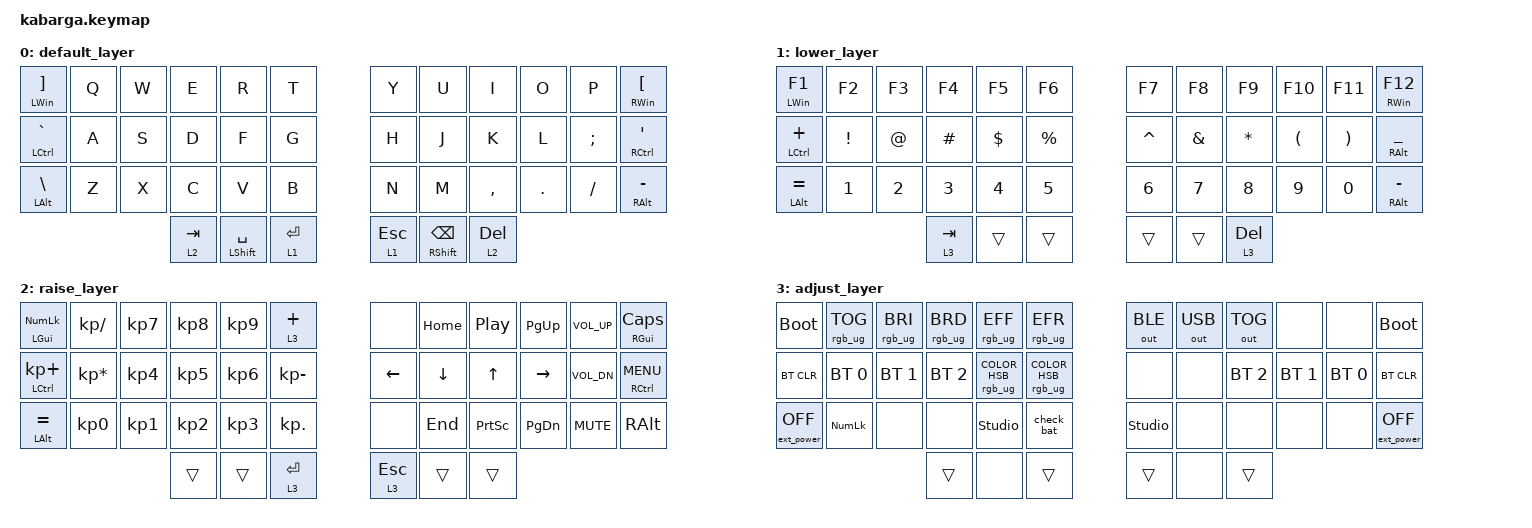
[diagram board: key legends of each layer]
/*
 * Copyright (c) 2020 The ZMK Contributors
 *
 * SPDX-License-Identifier: MIT
 */

#include <behaviors.dtsi>
#include <dt-bindings/zmk/bt.h>
#include <dt-bindings/zmk/ext_power.h>
#include <dt-bindings/zmk/keys.h>
#include <dt-bindings/zmk/outputs.h>
#include <dt-bindings/zmk/rgb.h>

#define DEF 0
#define LWR 1
#define RSE 2
#define ADJ 3

&lt { quick_tap_ms = <220>; };

&mt { quick_tap_ms = <220>; };

&led_strip { chain-length = <42>; };

/ {
    macros {
        numdot: numdot {
            label = "ZM_numdot";
            compatible = "zmk,behavior-macro";
            #binding-cells = <0>;
            wait-ms = <40>;
            tap-ms = <40>;
            bindings =
                <&macro_press>,
                <&kp LALT>,
                <&macro_tap>,
                <&kp KP_N4 &kp KP_N6>,
                <&macro_release>,
                <&kp LALT>;
        };

        grtsgn: grtsgn {
            label = "ZM_grtsgn";
            compatible = "zmk,behavior-macro";
            #binding-cells = <0>;
            wait-ms = <40>;
            tap-ms = <40>;
            bindings =
                <&macro_press>,
                <&kp LALT>,
                <&macro_tap>,
                <&kp KP_N6 &kp KP_N2>,
                <&macro_release>,
                <&kp LALT>;
        };
    };
};

/ {
    keymap {
        compatible = "zmk,keymap";

        default_layer {
            // ------------------------------------------------------------------------------------------------
            //| LGUI/] |  Q  |  W  |  E  |  R  |  T  |   |  Y  |  U   |  I  |  O  |  P  | RGUI/[ | 
            //| CTRL/` |  A  |  S  |  D  |  F  |  G  |   |  H  |  J   |  K  |  L  |  ;  | CTRL/' |
            //| LALT/\ |  Z  |  X  |  C  |  V  |  B  |   |  N  |  M   |  ,  |  .  |  /  | RALT/- |
            //                     | RSE | SPC | LWR |   | LWR | BKSP | RSE |

            bindings = <
&mt LWIN RBKT    &kp Q  &kp W  &kp E      &kp R            &kp T      &kp Y  &kp U      &kp I           &kp O      &kp P     &mt RWIN LBKT
&mt LCTRL GRAVE  &kp A  &kp S  &kp D      &kp F            &kp G      &kp H  &kp J      &kp K           &kp L      &kp SEMI  &mt RCTRL SQT
&mt LALT BSLH    &kp Z  &kp X  &kp C      &kp V            &kp B      &kp N  &kp M      &kp COMMA       &kp DOT    &kp FSLH  &mt RALT MINUS
                               &lt 2 TAB  &mt LSHFT SPACE  &lt 1 RET         &lt 1 ESC  &mt RSHFT BSPC  &lt 2 DEL
            >;
        };

        lower_layer {
            // -----------------------------------------------------------------------------------------
            //|LGUI/F1 |  F2 |  F3 |  F4 |  F5 |  F6 |    |  F7 |  F8 |  F9 | F10 | F11 | RGUI/F12 |
            //|CTRL/+  |  !  |  @  |  #  |  $  |  %  |    |  ^  |  &  |  *  |  (  |  )  |    _     |
            //|LALT/=  |  1  |  2  |  3  |  4  |  5  |    |  6  |  7  |   8 |  9  |  0  | RALT/-   |
            //                     | ADJ | ___ | ___ |    | ___ | ___ | ADJ |

            bindings = <
&mt LWIN F1     &kp F2    &kp F3  &kp F4     &kp F5      &kp F6       &kp F7     &kp F8    &kp F9    &kp F10    &kp F11   &mt RWIN F12
&mt LCTRL PLUS  &kp EXCL  &kp AT  &kp HASH   &kp DOLLAR  &kp PERCENT  &kp CARET  &kp AMPS  &kp STAR  &kp LPAR   &kp RPAR  &mt RALT UNDER
&mt LALT EQUAL  &kp N1    &kp N2  &kp N3     &kp N4      &kp N5       &kp N6     &kp N7    &kp N8    &kp N9     &kp N0    &mt RALT MINUS
                                  &lt 3 TAB  &trans      &trans                  &trans    &trans    &lt 3 DEL
            >;
        };

        raise_layer {
            // -----------------------------------------------------------------------------------------
            //| LGUI/NL |  /  |  7  |  8  |  9  |  +  |            | ___  | HOME | PLAY | PGUP | VOLU | RGUI |
            //| CTRL/+  |  *  |  4  |  5  |  6  |  -  |            | RGHT | DOWN | UP   | LEFT | VOLD | CTRL | 
            //| LALT/=  |  0  |  1  |  2  |  3  |  .  |            | ___  | END  | PRNT | PGDN | MUTE | RALT |
            //                      | ___ | ___ | ADJ |            | ADJ  | ___  | ___ |

            bindings = <
&mt LEFT_GUI KP_NUMLOCK  &kp KP_SLASH     &kp KP_N7  &kp KP_N8  &kp KP_N9  &lt 3 PLUS    &none     &kp HOME   &kp C_PP   &kp PG_UP  &kp C_VOL_UP  &mt RIGHT_GUI CAPS
&mt LCTRL KP_PLUS        &kp KP_MULTIPLY  &kp KP_N4  &kp KP_N5  &kp KP_N6  &kp KP_MINUS  &kp LEFT  &kp DOWN   &kp UP     &kp RIGHT  &kp C_VOL_DN  &mt RCTRL K_MENU
&mt LALT EQUAL           &kp KP_NUMBER_0  &kp KP_N1  &kp KP_N2  &kp KP_N3  &kp KP_DOT    &none     &kp END    &kp PSCRN  &kp PG_DN  &kp C_MUTE    &kp RALT
                                                     &trans     &trans     &lt 3 RET               &lt 3 ESC  &trans     &trans
            >;
        };

        adjust_layer {
            // -----------------------------------------------------------------------------------------
            //| BLDR |     |     |     |     |     |   |     |     |     |     |     | BLDR |
            //| BTCLR| BT0 | BT1 | BT2 | BT3 | BT4 |   | BT4 | BT3 | BT2 | BT1 | BT0 | BTCLR|
            //|pwrOFF|NUMLK|     |     |     |     |   |     |     |     |     |     |      |
            //                   |     |     |     |   |     |     |     |

            bindings = <
&bootloader        &rgb_ug RGB_TOG  &rgb_ug RGB_BRI  &rgb_ug RGB_BRD  &rgb_ug RGB_EFF                   &rgb_ug RGB_EFR                   &out OUT_BLE    &out OUT_USB  &out OUT_TOG  &none         &none         &bootloader
&bt BT_CLR         &bt BT_SEL 0     &bt BT_SEL 1     &bt BT_SEL 2     &rgb_ug RGB_COLOR_HSB(305,95,37)  &rgb_ug RGB_COLOR_HSB(26,100,48)  &none           &none         &bt BT_SEL 2  &bt BT_SEL 1  &bt BT_SEL 0  &bt BT_CLR
&ext_power EP_OFF  &kp KP_NUM       &none            &none            &studio_unlock                    &check_bat                        &studio_unlock  &none         &none         &none         &none         &ext_power EP_OFF
                                                     &trans           &none                             &trans                                            &trans        &none         &trans
            >;
        };
    };
};
